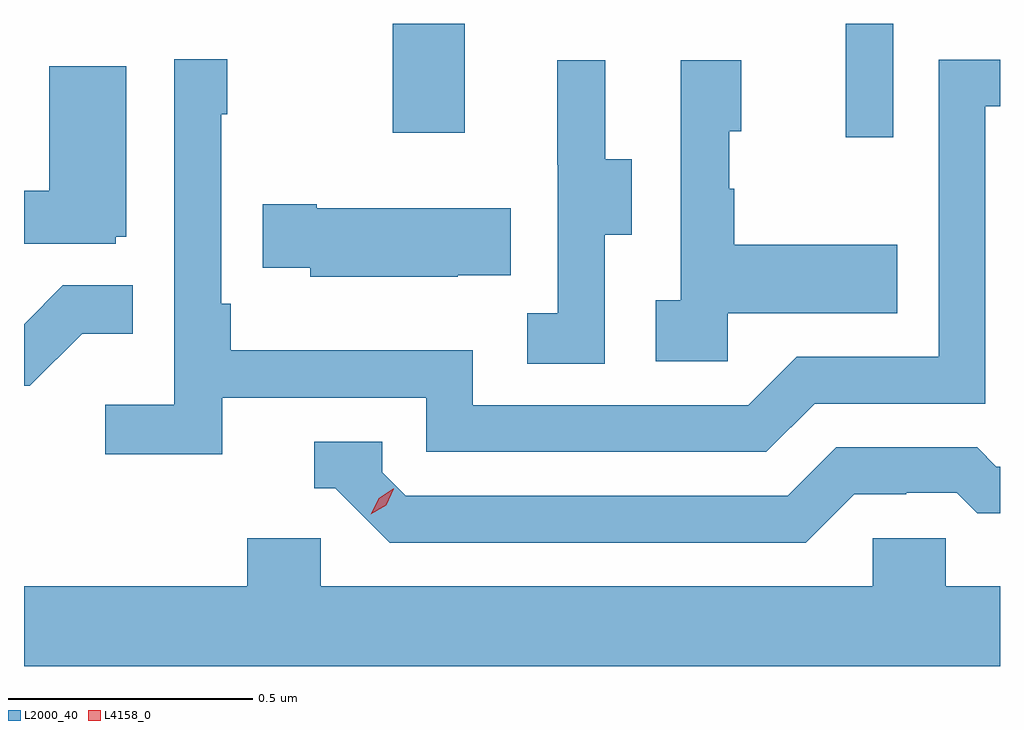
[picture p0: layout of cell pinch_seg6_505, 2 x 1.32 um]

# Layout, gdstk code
import gdstk
lib = gdstk.Library(unit=1e-6, precision=1e-09)
def R(c, l, rs):  # rectangles x0, y0, x1, y1
    for r in rs: c.add(gdstk.rectangle(r[:2], r[2:], *l))
def P(c, l, *ps):  # polygons
    for p in ps: c.add(gdstk.Polygon(p, *l))
L2000_40 = (2000, 40)
L4158_0 = (4158, 0)

pinch_seg6_505 = lib.new_cell('pinch_seg6_505')
R(pinch_seg6_505, L2000_40, [(846.074,920.448,846.171,920.68), (845.146,920.457,845.293,920.68)])
P(pinch_seg6_505, L2000_40, [(844.796,919.914),(845.214,919.914),(845.214,919.803),(845.911,919.803),(846.01,919.902),(846.36,919.902),(846.36,920.511),(846.39,920.511),(846.39,920.607),(846.264,920.607),(846.264,919.998),(845.973,919.998),(845.874,919.899),(845.31,919.899),(845.31,920.011),(844.814,920.011),(844.814,920.107),(844.794,920.107),(844.794,920.495),(844.807,920.495),(844.807,920.608),(844.698,920.608),(844.698,919.9),(844.557,919.9),(844.557,919.798),(844.796,919.798)],
  [(845.58,920.248),(845.635,920.248),(845.635,920.403),(845.581,920.403),(845.581,920.605),(845.483,920.605),(845.483,920.391),(845.484,920.391),(845.484,920.087),(845.421,920.087),(845.421,919.984),(845.58,919.984)],
  [(845.832,920.087),(846.179,920.087),(846.179,920.227),(845.845,920.227),(845.845,920.342),(845.835,920.342),(845.835,920.46),(845.86,920.46),(845.86,920.605),(845.736,920.605),(845.736,920.114),(845.685,920.114),(845.685,919.989),(845.832,919.989)],
  [(844.578,920.244),(844.6,920.244),(844.6,920.593),(844.442,920.593),(844.442,920.338),(844.39,920.338),(844.39,920.229),(844.578,920.229)],
  [(845.279,920.165),(845.387,920.165),(845.387,920.302),(844.99,920.302),(844.99,920.31),(844.879,920.31),(844.879,920.18),(844.977,920.18),(844.977,920.162),(845.279,920.162)],
  [(844.509,920.045),(844.613,920.045),(844.613,920.144),(844.469,920.144),(844.39,920.065),(844.39,919.938),(844.402,919.938)],
  [(846.091,919.716),(846.198,919.716),(846.198,919.719),(846.301,919.719),(846.343,919.677),(846.39,919.677),(846.39,919.773),(846.382,919.773),(846.343,919.812),(846.054,919.812),(845.955,919.713),(845.172,919.713),(845.124,919.761),(845.124,919.824),(844.985,919.824),(844.985,919.728),(845.028,919.728),(845.139,919.617),(845.992,919.617)],
  [(846.39,919.528),(846.279,919.528),(846.279,919.626),(846.129,919.626),(846.129,919.528),(844.998,919.528),(844.998,919.626),(844.847,919.626),(844.847,919.528),(844.39,919.528),(844.39,919.364),(846.39,919.364)])
P(pinch_seg6_505, L4158_0, [(845.101,919.675),(845.101,919.675),(845.117,919.708),(845.147,919.727),(845.148,919.727),(845.148,919.727),(845.132,919.694),(845.101,919.675)])

lib.write_gds('pinch_seg6_505.gds')
